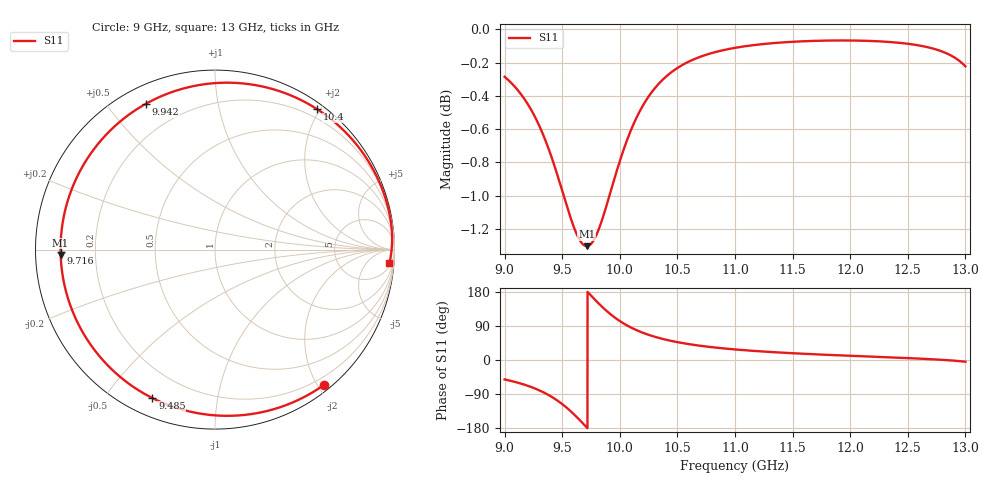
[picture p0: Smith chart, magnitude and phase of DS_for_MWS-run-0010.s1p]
! TOUCHSTONE file generated by CST DESIGN STUDIO
! Date and time: Tue Feb  4 17:05:31 2025
! Project name: C:\Work\MatlabApps\UnitCellOptimizationMatlab\CST\unitcell.cst
! Tree item: Tasks\Sweep1\SPara1\S-Parameters
! Header version: 2024
! Port assignment regex: !\s*Touchstone port\s*([0-9]+)\s*=\s*(CST MWS port|CST DES external port|CST DES block port)\s*(.+)\s* \(\"(.*)\"\)(\s*mode\s*([0-9]+))?.*
! Touchstone port assignment:
! Touchstone port 1 = CST DES external port 1 ("")
# GHz S MA R 50
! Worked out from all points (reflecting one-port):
!   4001 points, 9 GHz to 13 GHz, reference 50 ohm
!   lowest |S11| = -1.3 dB at 9.713 GHz (marker M1), VSWR 13.34, Z = 3.75 - j0.878 ohm
!   phase of S11 starts at -51 deg and turns -313 deg over the sweep
!   S11 on the Smith chart (normalised r, x): 9 GHz: 0.09, -2.08; 9.485 GHz: 0.08, -0.66; 9.716 GHz: 0.07, -0.01; 9.942 GHz: 0.07, +0.63; 10.4 GHz: 0.08, +1.97; 13 GHz: 7, -23
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9  0.9677 -51.3
9.132  0.9571 -61.4
9.255  0.9424 -74.2
9.385  0.92 -93.0
9.485  0.8978 -112.9
9.5  0.8942 -116.3
9.55  0.8826 -128.8
9.599  0.8724 -142.4
9.659  0.8634 -160.6
9.713  0.8606 -178.0
9.716  0.8606 -178.9
9.762  0.8629 166.2
9.811  0.8696 150.8
9.877  0.8833 131.8
9.942  0.899 115.4
10  0.9128 102.8
10.083  0.93 87.9
10.186  0.9467 73.6
10.285  0.9582 63.0
10.396  0.9675 53.9
10.5  0.9736 47.1
10.718  0.9818 36.8
11  0.9873 27.8
11.5  0.9915 17.9
12  0.9923 11.1
12.5  0.9901 5.0
12.79  0.985 0.6
13  0.9748 -4.5
